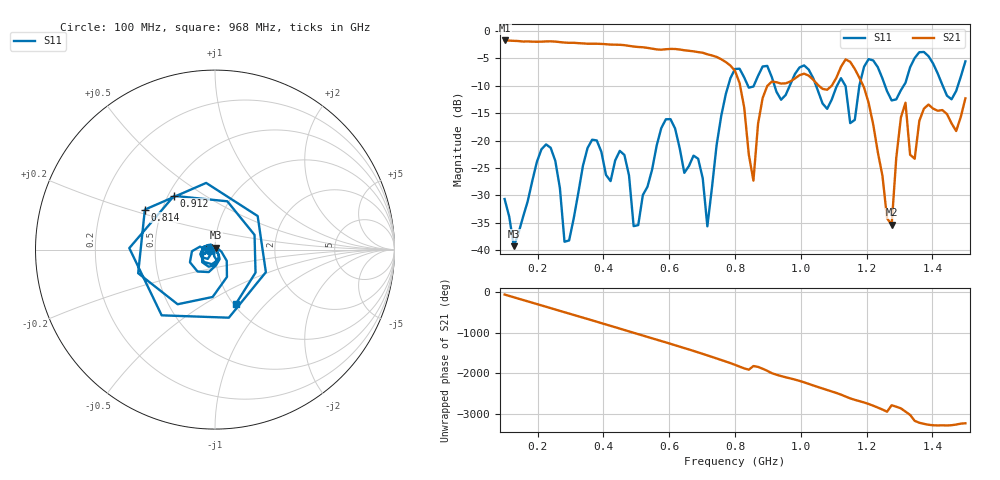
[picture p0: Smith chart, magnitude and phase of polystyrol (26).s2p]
! NanoVNA-App
! Date: 2025-09-26 09:42:05
! Start: 100MHz Stop: 1,5GHz Points: 101
! S-Parameter data: F S11 S21 S12 S22
# Hz S RI R 50
!  Frequency  S11_Real  S11_Imag  S21_Real  S21_Imag  S12_Real  S12_Imag  S22_Real  S22_Imag
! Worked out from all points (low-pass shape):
!   101 points, 100 MHz to 1.5 GHz, reference 50 ohm
!   highest |S21| = -1.79 dB at 100 MHz (marker M1); lowest = -35.3 dB at 1.276 GHz (marker M2)
!   |S21| within 3 dB of the highest: start of sweep to 744.1 MHz
!   lowest |S11| = -39.2 dB at 128 MHz (marker M3), VSWR 1.02, Z = 50.3 + j1.06 ohm
!   |S11| at or under -10 dB: start of sweep to 779.5 MHz; 1.046 GHz to 1.11 GHz (64.06 MHz wide, 5.94 % of centre); 1.256 GHz to 1.313 GHz (57 MHz wide, 4.44 % of centre)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
!   S12 and S22 are empty: the file has one direction only
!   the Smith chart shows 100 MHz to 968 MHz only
!   S11 on the Smith chart (normalised r, x): 100 MHz: 0.94, -0.01; 814 MHz: 0.40, +0.22; 912 MHz: 0.54, +0.37; 968 MHz: 1.03, -0.69
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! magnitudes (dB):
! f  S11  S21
! 100 MHz  -30.7  -1.8
! 128 MHz  -39.2  -1.9
! 212 MHz  -21.6  -2.0
! 282 MHz  -38.4  -2.2
! 338 MHz  -24.6  -2.3
! 464 MHz  -22.6  -2.6
! 506 MHz  -35.4  -3.0
! 576 MHz  -17.7  -3.5
! 688 MHz  -23.3  -3.9
! 716 MHz  -35.6  -4.3
! 800 MHz  -7.0  -7.3
! 814 MHz  -6.9  -9.6
! 856 MHz  -10.2  -27.3
! 912 MHz  -8.5  -9.3
! 968 MHz  -9.8  -9.3
! 1.038 GHz  -8.7  -9.0
! 1.164 GHz  -16.2  -7.0
! 1.206 GHz  -5.2  -13.1
! 1.276 GHz  -12.7  -35.3
! 1.318 GHz  -9.5  -13.1
! 1.346 GHz  -5.0  -23.3
! 1.5 GHz  -5.6  -12.3
